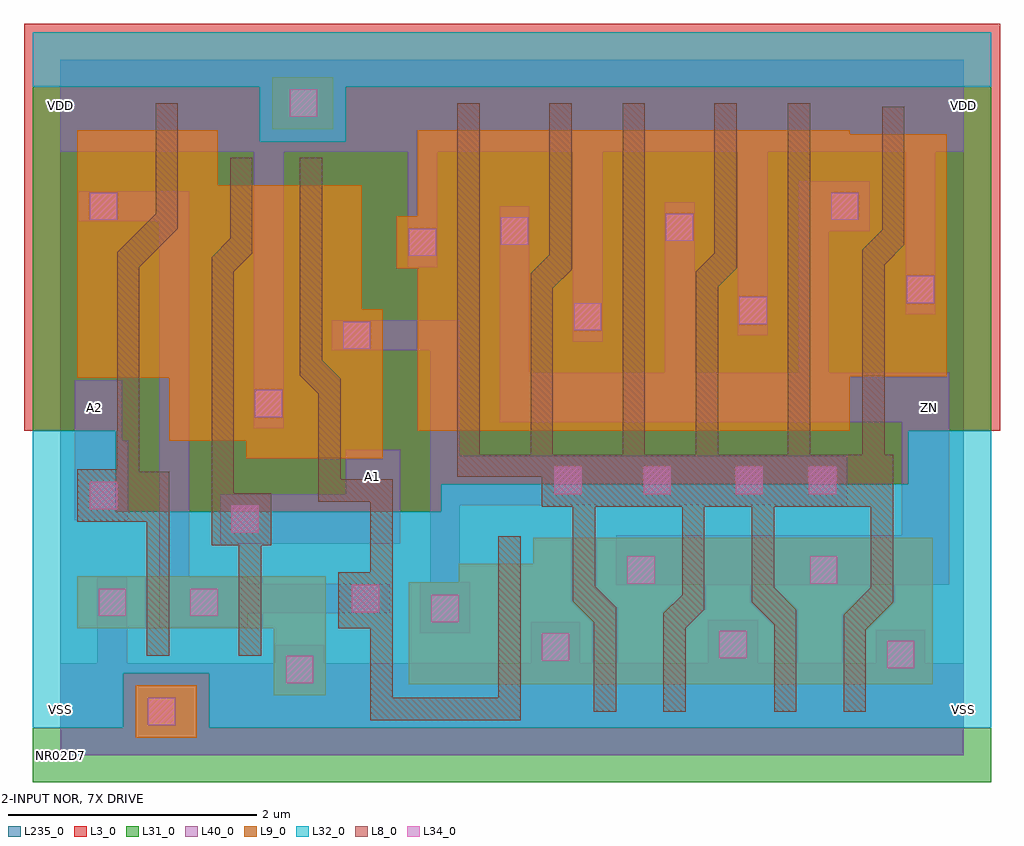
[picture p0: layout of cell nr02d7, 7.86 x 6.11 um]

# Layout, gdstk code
import gdstk
lib = gdstk.Library(unit=1e-6, precision=1e-09)
def R(c, l, rs):  # rectangles x0, y0, x1, y1
    for r in rs: c.add(gdstk.rectangle(r[:2], r[2:], *l))
def P(c, l, *ps):  # polygons
    for p in ps: c.add(gdstk.Polygon(p, *l))
L3_0 = (3, 0)
L8_0 = (8, 0)
L9_0 = (9, 0)
L31_0 = (31, 0)
L32_0 = (32, 0)
L34_0 = (34, 0)
L40_0 = (40, 0)
L235_0 = (235, 0)

nr02d7 = lib.new_cell('nr02d7')
P(nr02d7, L3_0, [(0.45,1.96),(0.45,2.61),(-0.29,2.61),(-0.29,5.89),(7.57,5.89),(7.57,2.61),(6.83,2.61),(6.83,2.18),(3.07,2.18),(3.07,1.96)])
P(nr02d7, L8_0, [(2.5,0.28),(2.5,1.02),(2.24,1.02),(2.24,1.47),(2.5,1.47),(2.5,2.04),(2.08,2.04),(2.08,2.91),(1.93,3.06),(1.93,4.81),(2.11,4.81),(2.11,3.18),(2.26,3.03),(2.26,2.22),(2.68,2.22),(2.68,0.46),(3.53,0.46),(3.53,1.76),(3.71,1.76),(3.71,0.28)],
  [(1.44,0.8),(1.44,1.69),(1.22,1.69),(1.22,4.01),(1.37,4.16),(1.37,4.81),(1.55,4.81),(1.55,4.04),(1.4,3.89),(1.4,2.11),(1.7,2.11),(1.7,1.69),(1.62,1.69),(1.62,0.8)],
  [(4.3,0.35),(4.3,1.07),(4.13,1.24),(4.13,2),(3.88,2),(3.88,2.24),(3.2,2.24),(3.2,5.25),(3.38,5.25),(3.38,2.42),(3.79,2.42),(3.79,3.88),(3.94,4.03),(3.94,5.25),(4.12,5.25),(4.12,3.91),(3.97,3.76),(3.97,2.42),(4.53,2.42),(4.53,5.25),(4.71,5.25),(4.71,2.42),(5.12,2.42),(5.12,3.89),(5.27,4.04),(5.27,5.25),(5.45,5.25),(5.45,3.92),(5.3,3.77),(5.3,2.42),(5.86,2.42),(5.86,5.25),(6.04,5.25),(6.04,2.42),(6.46,2.42),(6.46,4.07),(6.62,4.23),(6.62,5.22),(6.8,5.22),(6.8,4.11),(6.64,3.95),(6.64,2.42),(6.71,2.42),(6.71,1.23),(6.49,1.01),(6.49,0.35),(6.31,0.35),(6.31,1.13),(6.53,1.35),(6.53,2),(5.75,2),(5.75,1.35),(5.93,1.17),(5.93,0.35),(5.75,0.35),(5.75,1.05),(5.57,1.23),(5.57,2),(5.19,2),(5.19,1.17),(5.04,1.02),(5.04,0.35),(4.86,0.35),(4.86,1.14),(5.01,1.29),(5.01,2),(4.31,2),(4.31,1.36),(4.48,1.19),(4.48,0.35)],
  [(0.7,0.8),(0.7,1.88),(0.14,1.88),(0.14,2.3),(0.46,2.3),(0.46,4.05),(0.77,4.36),(0.77,5.25),(0.95,5.25),(0.95,4.24),(0.64,3.93),(0.64,2.28),(0.88,2.28),(0.88,0.8)])
R(nr02d7, L9_0, [(0.61,0.14,1.1,0.56), (1.71,5.04,2.2,5.46)])
P(nr02d7, L9_0, [(1.72,0.48),(1.72,1.02),(0.14,1.02),(0.14,1.44),(2.14,1.44),(2.14,0.48)],
  [(2.81,0.57),(2.81,1.39),(3.21,1.39),(3.21,1.54),(3.81,1.54),(3.81,1.75),(7.03,1.75),(7.03,0.57)],
  [(2.88,2.61),(2.88,3.92),(2.71,3.92),(2.71,4.34),(2.88,4.34),(2.88,5.03),(6.36,5.03),(6.36,5),(7.14,5),(7.14,3.05),(6.36,3.05),(6.36,2.61)],
  [(1.5,2.39),(1.5,2.53),(0.88,2.53),(0.88,3.04),(0.14,3.04),(0.14,5.03),(1.27,5.03),(1.27,4.59),(2.43,4.59),(2.43,3.59),(2.6,3.59),(2.6,2.39)])
P(nr02d7, L31_0, [(-0.22,-0.22),(-0.22,0.22),(0.51,0.22),(0.51,0.66),(1.2,0.66),(1.2,0.22),(7.5,0.22),(7.5,-0.22)],
  [(0.45,1.96),(0.45,2.61),(-0.22,2.61),(-0.22,5.38),(1.61,5.38),(1.61,4.94),(2.3,4.94),(2.3,5.38),(7.5,5.38),(7.5,2.61),(6.83,2.61),(6.83,2.18),(3.07,2.18),(3.07,1.96)])
P(nr02d7, L32_0, [(-0.22,0.22),(-0.22,2.61),(0.45,2.61),(0.45,1.96),(3.07,1.96),(3.07,2.18),(6.83,2.18),(6.83,2.61),(7.5,2.61),(7.5,0.22),(1.2,0.22),(1.2,0.66),(0.51,0.66),(0.51,0.22)],
  [(1.61,4.94),(1.61,5.38),(-0.22,5.38),(-0.22,5.82),(7.5,5.82),(7.5,5.38),(2.3,5.38),(2.3,4.94)])
R(nr02d7, L34_0, [(0.71,0.24,0.93,0.46), (1.82,0.58,2.04,0.8), (6.66,0.7,6.88,0.92), (3.88,0.76,4.1,0.98), (5.31,0.78,5.53,1), (2.99,1.07,3.21,1.29), (0.31,1.12,0.53,1.34), (1.05,1.12,1.27,1.34), (2.35,1.15,2.57,1.37), (4.57,1.38,4.79,1.6), (6.04,1.38,6.26,1.6), (1.38,1.79,1.6,2.01), (0.24,1.98,0.46,2.2), (3.98,2.1,4.2,2.32), (4.7,2.1,4.92,2.32), (5.44,2.1,5.66,2.32), (6.03,2.1,6.25,2.32), (1.57,2.72,1.79,2.94), (2.28,3.27,2.5,3.49), (4.14,3.42,4.36,3.64), (5.47,3.47,5.69,3.69), (6.82,3.64,7.04,3.86), (2.81,4.02,3.03,4.24), (3.55,4.11,3.77,4.33), (4.88,4.14,5.1,4.36), (0.24,4.31,0.46,4.53), (6.21,4.31,6.43,4.53), (1.85,5.14,2.07,5.36)])
P(nr02d7, L40_0, [(0,0),(0,0.74),(0.3,0.74),(0.3,1.43),(0.54,1.43),(0.54,0.74),(1.73,0.74),(1.73,0.89),(2.13,0.89),(2.13,0.74),(3.79,0.74),(3.79,1.07),(4.19,1.07),(4.19,0.74),(5.22,0.74),(5.22,1.09),(5.62,1.09),(5.62,0.74),(6.57,0.74),(6.57,1.01),(6.97,1.01),(6.97,0.74),(7.28,0.74),(7.28,0)],
  [(1.29,1.7),(1.29,2.1),(2.3,2.1),(2.3,2.46),(2.74,2.46),(2.74,1.7)],
  [(0.12,1.89),(0.12,3.02),(0.5,3.02),(0.5,2.53),(0.55,2.53),(0.55,1.89)],
  [(2.9,0.98),(2.9,1.39),(2.98,1.39),(2.98,3.26),(2.19,3.26),(2.19,3.5),(3.22,3.5),(3.22,2.41),(6.34,2.41),(6.34,2.01),(3.22,2.01),(3.22,1.39),(3.3,1.39),(3.3,0.98)],
  [(0.8,1.03),(0.8,4.3),(0.15,4.3),(0.15,4.54),(1.04,4.54),(1.04,1.43),(1.51,1.43),(1.51,1.38),(2.66,1.38),(2.66,1.14),(1.51,1.14),(1.51,1.03)],
  [(4.48,1.37),(4.48,1.77),(6.78,1.77),(6.78,2.68),(3.54,2.68),(3.54,4.42),(3.78,4.42),(3.78,3.08),(4.87,3.08),(4.87,4.45),(5.11,4.45),(5.11,3.08),(5.95,3.08),(5.95,4.62),(6.52,4.62),(6.52,4.22),(6.19,4.22),(6.19,3.08),(7.16,3.08),(7.16,1.37)],
  [(1.56,2.63),(1.56,4.86),(0,4.86),(0,5.6),(7.28,5.6),(7.28,4.86),(7.05,4.86),(7.05,3.55),(6.81,3.55),(6.81,4.86),(5.7,4.86),(5.7,3.38),(5.46,3.38),(5.46,4.86),(4.37,4.86),(4.37,3.33),(4.13,3.33),(4.13,4.86),(3.04,4.86),(3.04,3.93),(2.8,3.93),(2.8,4.86),(1.8,4.86),(1.8,2.63)])
R(nr02d7, L235_0, [(0,0,7.28,5.6)])
nr02d7.add(gdstk.Label('Copyright (c) 2003, 2004 Synopsys, Inc.', (0,-1.6), layer=96, texttype=0))
nr02d7.add(gdstk.Label('DT. 13-Aug-2002 12:47:30', (0,-1.2), layer=96, texttype=0))
nr02d7.add(gdstk.Label('Rev. 2', (0,-0.8), layer=96, texttype=0))
nr02d7.add(gdstk.Label('2-INPUT NOR, 7X DRIVE', (0,-0.4), layer=96, texttype=0))
nr02d7.add(gdstk.Label('NR02D7', (0,0), layer=96, texttype=0))
nr02d7.add(gdstk.Label('ZN', (7,2.8), layer=40, texttype=7))
nr02d7.add(gdstk.Label('A1', (2.52,2.24), layer=40, texttype=7))
nr02d7.add(gdstk.Label('A2', (0.28,2.8), layer=40, texttype=7))
nr02d7.add(gdstk.Label('VSS', (7.28,0.37), layer=40, texttype=7))
nr02d7.add(gdstk.Label('VSS', (0,0.37), layer=40, texttype=7))
nr02d7.add(gdstk.Label('VDD', (7.28,5.23), layer=40, texttype=7))
nr02d7.add(gdstk.Label('VDD', (0,5.23), layer=40, texttype=7))

lib.write_gds('nr02d7.gds')
